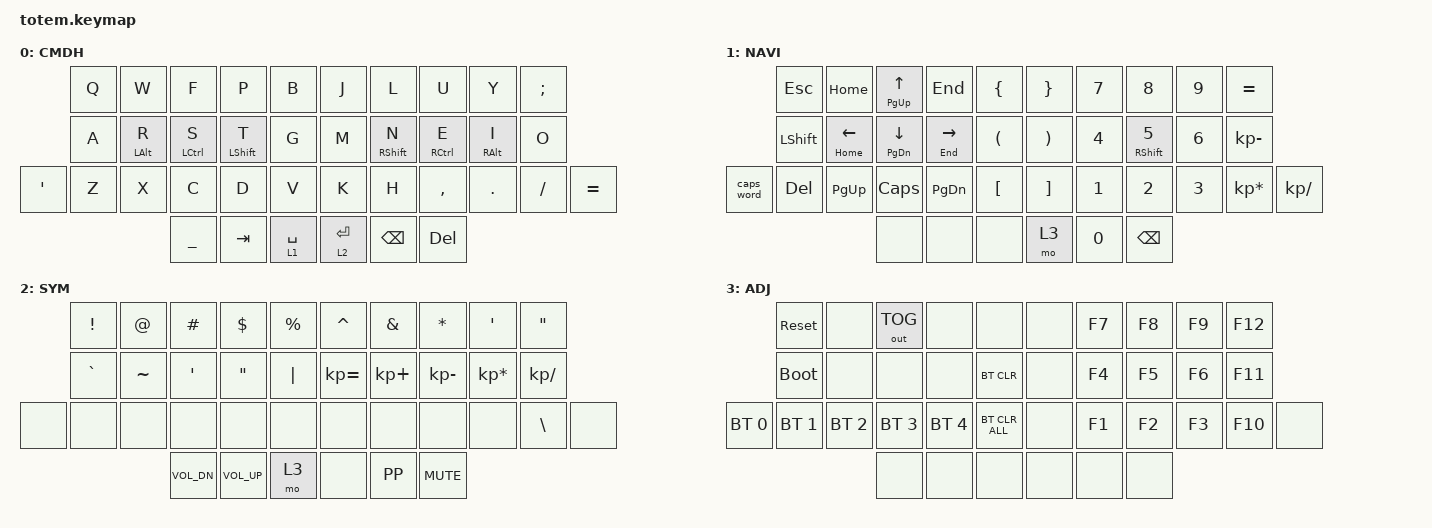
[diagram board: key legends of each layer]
//
//                                                        ▀▀▀▀▀     ▀▀▀▀▀          ▀▀█▀▀
//                                                        ▄▀▀▀▄  ▄  ▄▀▀▀▄  ▄  ▄▀▀▀▄  █  ▄▀▀▀▄
//                                                        █   █  █  █   █  █  █   █  █  █   █
//                                                         ▀▀▀   █   ▀▀▀   █   ▀▀▀   ▀   ▀▀▀
//                                                               █      ▄▄▄█▄▄▄    █   █  
//                                                               ▀      █  █  █     █▄█
//                                                             ▀▀▀▀▀    █  █  █      ▀
//                                                                      ▀  ▀  ▀
//
// ▄▄▄▄▄▄▄▄▄▄▄▄▄▄▄▄▄▄▄▄▄▄▄▄▄▄▄▄▄▄▄▄▄▄▄▄▄▄▄▄▄▄▄▄▄▄▄▄▄▄▄▄▄▄▄▄▄▄▄▄▄▄▄▄▄▄▄▄▄▄▄▄▄▄▄▄▄▄▄▄▄▄▄▄▄▄▄▄▄▄▄▄▄▄▄▄▄▄▄▄▄▄▄▄▄▄▄▄▄▄▄▄▄▄▄▄▄▄▄▄▄▄▄▄▄▄▄▄▄▄▄▄▄▄▄▄▄▄▄▄▄▄▄▄▄▄▄▄▄

#include <behaviors.dtsi>
#include <dt-bindings/zmk/bt.h>
#include <dt-bindings/zmk/keys.h>
#include <dt-bindings/zmk/outputs.h>

#define COLEMAK  0
#define NAV      1
#define SYM      2
#define ADJ      3

&mt {
    quick-tap-ms = <200>;
    global-quick-tap;
    flavor = "tap-preferred";
    tapping-term-ms = <250>;
};

/ {
    combos {
        compatible = "zmk,combos";

        combo_esc {
            timeout-ms = <50>;
            key-positions = <0 1>;
            bindings = <&kp ESC>;
        };
    };

    keymap {
        compatible = "zmk,keymap";

        // ▄▄▄▄▄▄▄▄▄▄▄▄▄▄▄▄▄▄▄▄▄▄▄▄▄▄▄▄▄▄▄▄▄▄▄▄▄▄▄▄▄▄▄▄▄▄▄▄▄▄▄▄▄▄▄▄▄▄▄▄▄▄▄▄▄▄▄▄▄▄▄▄▄▄▄▄▄▄▄▄▄▄▄▄▄▄▄▄▄▄▄▄▄▄▄▄▄▄▄▄▄▄▄▄▄▄▄▄▄▄▄▄▄▄▄▄▄▄▄▄▄▄▄▄▄▄▄▄▄▄▄▄▄▄▄▄▄▄▄▄▄▄▄▄▄▄▄▄▄

        COLEMAKDH {
            label = "CMDH";
            bindings = <
                  &kp Q  &kp W       &kp F           &kp P        &kp B          &kp J      &kp L        &kp U        &kp Y       &kp SEMI
                  &kp A  &mt LALT R  &mt LCTRL S     &mt LSHFT T  &kp G          &kp M      &mt RSHFT N  &mt RCTRL E  &mt RALT I  &kp O
&kp SINGLE_QUOTE  &kp Z  &kp X       &kp C           &kp D        &kp V          &kp K      &kp H        &kp COMMA    &kp DOT     &kp SLASH  &kp EQUAL
                                     &kp UNDERSCORE  &kp TAB      &lt 1 SPACE    &lt 2 RET  &kp BSPC     &kp DELETE
            >;
        };

        nav_layer {
            // ┏━━━━━━━━━━━━━━━━━━━━━━━━━━━━━━━━━━━━━━━┓

            label = "NAVI";

            // ┗━━━━━━━━━━━━━━━━━━━━━━━━━━━━━━━━━━━━━━━┛
            //             ┏━━━━━━━━━━━┳━━━━━━━━━━━┳━━━━━━━━━━━┳━━━━━━━━━━━┳━━━━━━━━━━━┓   ┏━━━━━━━━━━━┳━━━━━━━━━━━┳━━━━━━━━━━━┳━━━━━━━━━━━┳━━━━━━━━━━━┓
            //             ┃           ┃           ┃     UP    ┃           ┃     {     ┃   ┃     }     ┃     7     ┃     8     ┃     9     ┃     +     ┃
            //             ┣━━━━━━━━━━━╋━━━━━━━━━━━╋━━━━━━━━━━━╋━━━━━━━━━━━╋━━━━━━━━━━━┫   ┣━━━━━━━━━━━╋━━━━━━━━━━━╋━━━━━━━━━━━╋━━━━━━━━━━━╋━━━━━━━━━━━┫
            //             ┃   SHIFT   ┃   LEFT    ┃    DOWN   ┃   RIGHT   ┃     [     ┃   ┃     ]     ┃     4     ┃     5     ┃     6     ┃     -     ┃
            // ┏━━━━━━━━━━━╋━━━━━━━━━━━╋━━━━━━━━━━━╋━━━━━━━━━━━╋━━━━━━━━━━━╋━━━━━━━━━━━┫   ┣━━━━━━━━━━━╋━━━━━━━━━━━╋━━━━━━━━━━━╋━━━━━━━━━━━╋━━━━━━━━━━━╋━━━━━━━━━━━┓
            // ┃           ┃           ┃   P UP    ┃  C LOCK   ┃  P DOWN   ┃     (     ┃   ┃     )     ┃     1     ┃     2     ┃     3     ┃     *     ┃           ┃
            // ┗━━━━━━━━━━━┻━━━━━━━━━━━┻━━━━━━━━━━━╋━━━━━━━━━━━╋━━━━━━━━━━━╋━━━━━━━━━━━┫   ┣━━━━━━━━━━━╋━━━━━━━━━━━╋━━━━━━━━━━━╋━━━━━━━━━━━┻━━━━━━━━━━━┻━━━━━━━━━━━┛
            //                                     ┃           ┃    TAB    ┃    SPC    ┃   ┃    DEL    ┃     0     ┃           ┃
            //                                     ┗━━━━━━━━━━━┻━━━━━━━━━━━┻━━━━━━━━━━━┛   ┗━━━━━━━━━━━┻━━━━━━━━━━━┻━━━━━━━━━━━┛

            bindings = <
            &kp ESC    &kp HOME       &mt PG_UP UP    &kp END        &kp LBRC                &kp RBRC               &kp N7  &kp N8         &kp N9  &kp EQUAL
            &kp LSHFT  &mt HOME LEFT  &mt PG_DN DOWN  &mt END RIGHT  &kp LEFT_PARENTHESIS    &kp RIGHT_PARENTHESIS  &kp N4  &mt RSHIFT N5  &kp N6  &kp KP_MINUS
&caps_word  &kp DEL    &kp PG_UP      &kp CAPS        &kp PG_DN      &kp LEFT_BRACKET        &kp RIGHT_BRACKET      &kp N1  &kp N2         &kp N3  &kp KP_MULTIPLY  &kp KP_SLASH
                                      &none           &none          &none                   &mo 3                  &kp N0  &kp BACKSPACE
            >;
        };

        sim_layer {
            // ┏━━━━━━━━━━━━━━━━━━━━━━━━━━━━━━━━━━━━━━━┓

            label = "SYM";

            // ┗━━━━━━━━━━━━━━━━━━━━━━━━━━━━━━━━━━━━━━━┛
            //             ┏━━━━━━━━━━━┳━━━━━━━━━━━┳━━━━━━━━━━━┳━━━━━━━━━━━┳━━━━━━━━━━━┓   ┏━━━━━━━━━━━┳━━━━━━━━━━━┳━━━━━━━━━━━┳━━━━━━━━━━━┳━━━━━━━━━━━┓
            //             ┃     !     ┃     @     ┃     #     ┃     $     ┃     %     ┃   ┃     ˆ     ┃     &     ┃     Ü     ┃     '     ┃     "     ┃
            //             ┣━━━━━━━━━━━╋━━━━━━━━━━━╋━━━━━━━━━━━╋━━━━━━━━━━━╋━━━━━━━━━━━┫   ┣━━━━━━━━━━━╋━━━━━━━━━━━╋━━━━━━━━━━━╋━━━━━━━━━━━╋━━━━━━━━━━━┫
            //             ┃     Ä     ┃           ┃    SZ     ┃           ┃           ┃   ┃   MUTE    ┃   YEN     ┃   EURO    ┃  POUND    ┃     Ö     ┃
            // ┏━━━━━━━━━━━╋━━━━━━━━━━━╋━━━━━━━━━━━╋━━━━━━━━━━━╋━━━━━━━━━━━╋━━━━━━━━━━━┫   ┣━━━━━━━━━━━╋━━━━━━━━━━━╋━━━━━━━━━━━╋━━━━━━━━━━━╋━━━━━━━━━━━╋━━━━━━━━━━━┓
            // ┃           ┃  EMAIL1   ┃  EMAIL2   ┃           ┃           ┃           ┃   ┃   VOL-    ┃   VOL+    ┃   LAST    ┃   NEXT    ┃     \     ┃           ┃
            // ┗━━━━━━━━━━━┻━━━━━━━━━━━┻━━━━━━━━━━━╋━━━━━━━━━━━╋━━━━━━━━━━━╋━━━━━━━━━━━┫   ┣━━━━━━━━━━━╋━━━━━━━━━━━╋━━━━━━━━━━━╋━━━━━━━━━━━┻━━━━━━━━━━━┻━━━━━━━━━━━┛
            //                                     ┃           ┃    GIF    ┃    ADJ    ┃   ┃           ┃           ┃           ┃
            //                                     ┗━━━━━━━━━━━┻━━━━━━━━━━━┻━━━━━━━━━━━┛   ┗━━━━━━━━━━━┻━━━━━━━━━━━┻━━━━━━━━━━━┛

            bindings = <
       &kp EXCL   &kp AT     &kp HASH          &kp DLLR           &kp PRCNT    &kp CARET     &kp AMPS     &kp ASTRK     &kp SQT          &kp DQT
       &kp GRAVE  &kp TILDE  &kp SINGLE_QUOTE  &kp DOUBLE_QUOTES  &kp PIPE     &kp KP_EQUAL  &kp KP_PLUS  &kp KP_MINUS  &kp KP_MULTIPLY  &kp KP_SLASH
&none  &none      &none      &none             &none              &none        &none         &none        &none         &none            &kp BACKSLASH  &none
                             &kp K_VOL_DN      &kp K_VOL_UP       &mo 3        &none         &kp K_PP     &kp K_MUTE
            >;
        };

        adjust_layer {
            // ┏━━━━━━━━━━━━━━━━━━━━━━━━━━━━━━━━━━━━━━━┓

            label = "ADJ";

            // ┗━━━━━━━━━━━━━━━━━━━━━━━━━━━━━━━━━━━━━━━┛
            //             ┏━━━━━━━━━━━┳━━━━━━━━━━━┳━━━━━━━━━━━┳━━━━━━━━━━━┳━━━━━━━━━━━┓   ┏━━━━━━━━━━━┳━━━━━━━━━━━┳━━━━━━━━━━━┳━━━━━━━━━━━┳━━━━━━━━━━━┓
            //             ┃   RESET   ┃ BT CLEAR  ┃  OUT TOG  ┃           ┃           ┃   ┃           ┃    F7     ┃    F8     ┃    F9     ┃    F12    ┃
            //             ┣━━━━━━━━━━━╋━━━━━━━━━━━╋━━━━━━━━━━━╋━━━━━━━━━━━╋━━━━━━━━━━━┫   ┣━━━━━━━━━━━╋━━━━━━━━━━━╋━━━━━━━━━━━╋━━━━━━━━━━━╋━━━━━━━━━━━┫
            //             ┃ BOOTLOAD  ┃ BT NEXT   ┃           ┃           ┃           ┃   ┃           ┃    F4     ┃    F5     ┃    F6     ┃    F11    ┃
            // ┏━━━━━━━━━━━╋━━━━━━━━━━━╋━━━━━━━━━━━╋━━━━━━━━━━━╋━━━━━━━━━━━╋━━━━━━━━━━━┫   ┣━━━━━━━━━━━╋━━━━━━━━━━━╋━━━━━━━━━━━╋━━━━━━━━━━━╋━━━━━━━━━━━╋━━━━━━━━━━━┓
            // ┃           ┃           ┃ BT PREV   ┃           ┃           ┃           ┃   ┃           ┃    F1     ┃    F2     ┃    F3     ┃    F10    ┃           ┃
            // ┗━━━━━━━━━━━┻━━━━━━━━━━━┻━━━━━━━━━━━╋━━━━━━━━━━━╋━━━━━━━━━━━╋━━━━━━━━━━━┫   ┣━━━━━━━━━━━╋━━━━━━━━━━━╋━━━━━━━━━━━╋━━━━━━━━━━━┻━━━━━━━━━━━┻━━━━━━━━━━━┛
            //                                     ┃           ┃           ┃           ┃   ┃           ┃           ┃           ┃
            //                                     ┗━━━━━━━━━━━┻━━━━━━━━━━━┻━━━━━━━━━━━┛   ┗━━━━━━━━━━━┻━━━━━━━━━━━┻━━━━━━━━━━━┛

            bindings = <
              &sys_reset    &none         &out OUT_TOG  &none         &none             &none  &kp F7  &kp F8  &kp F9  &kp F12
              &bootloader   &none         &none         &none         &bt BT_CLR        &none  &kp F4  &kp F5  &kp F6  &kp F11
&bt BT_SEL 0  &bt BT_SEL 1  &bt BT_SEL 2  &bt BT_SEL 3  &bt BT_SEL 4  &bt BT_CLR_ALL    &none  &kp F1  &kp F2  &kp F3  &kp F10  &none
                                          &none         &none         &none             &none  &none   &none
            >;
        };
    };
};
